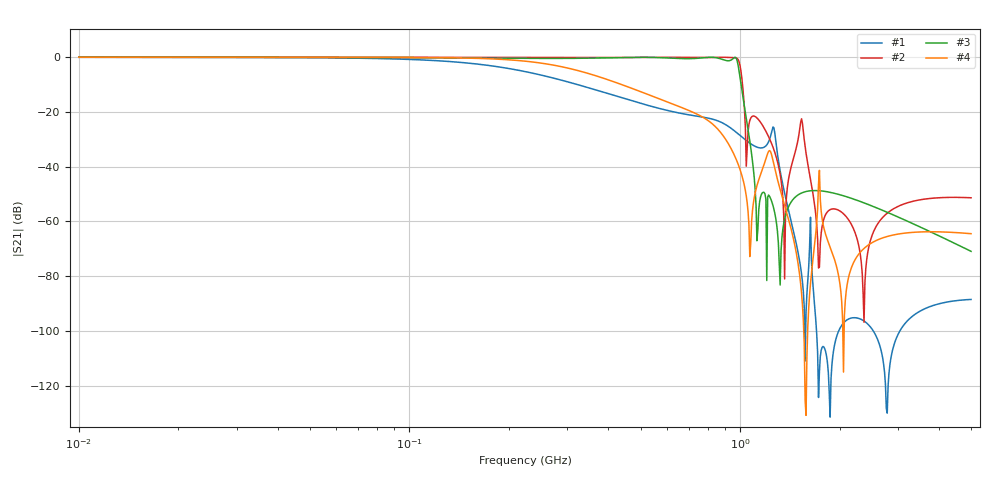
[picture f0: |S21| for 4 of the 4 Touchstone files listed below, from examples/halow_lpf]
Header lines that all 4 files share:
! Created with skrf 1.11.0 (http://scikit-rf.org).
# Hz S RI R 50.0
!freq ReS11 ImS11 ReS21 ImS21 ReS12 ImS12 ReS22 ImS22
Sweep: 10 MHz to 5 GHz
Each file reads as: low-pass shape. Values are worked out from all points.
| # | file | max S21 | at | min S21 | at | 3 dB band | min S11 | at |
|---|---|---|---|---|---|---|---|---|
| 1 | after_zero_placement.s2p | -0.01 dB | 10 MHz | -131.5 dB | 1.873 GHz | 10 MHz-173.3 MHz | -28.5 dB | 10 MHz |
| 2 | final.s2p | 0.00 dB | 883 MHz | -96.8 dB | 2.372 GHz | 10 MHz-999.9 MHz | -51.7 dB | 883 MHz |
| 3 | starting_point.s2p | 0.00 dB | 10 MHz | -83.2 dB | 1.322 GHz | 10 MHz-981.4 MHz | -34.7 dB | 10 MHz |
| 4 | with_real_parts.s2p | 0.00 dB | 10 MHz | -130.9 dB | 1.584 GHz | 10 MHz-276.2 MHz | -42.0 dB | 10 MHz |
